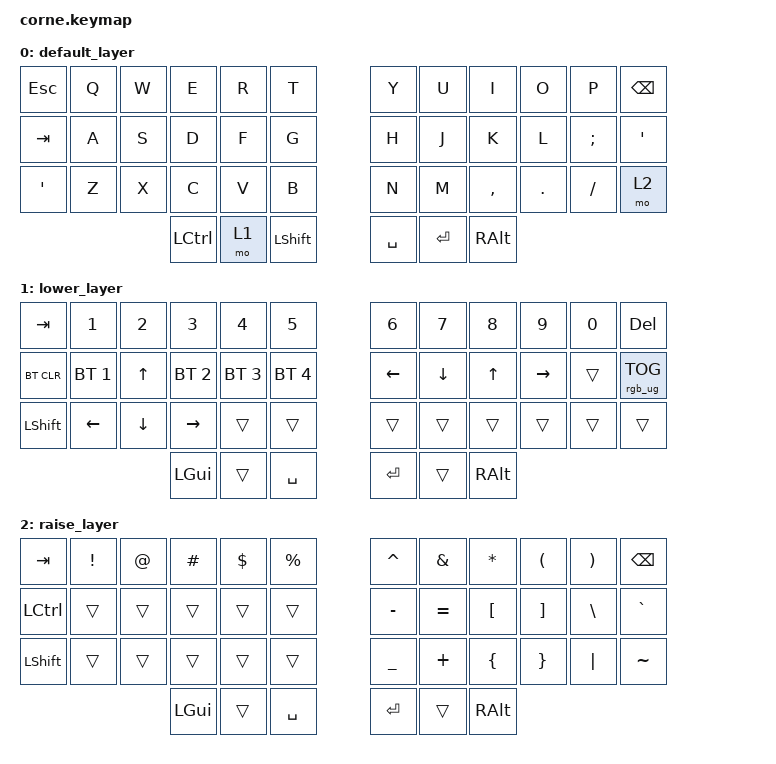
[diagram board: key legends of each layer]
/*
 * Copyright (c) 2020 The ZMK Contributors
 *
 * SPDX-License-Identifier: MIT
 */

#include <behaviors.dtsi>
#include <dt-bindings/zmk/keys.h>
#include <dt-bindings/zmk/bt.h>
#include <dt-bindings/zmk/rgb.h>

&led_strip {
    chain-length = <48>;
};

/ {
        keymap {
                compatible = "zmk,keymap";

                default_layer {
// -----------------------------------------------------------------------------------------
// |  TAB |  Q  |  W  |  E  |  R  |  T  |   |  Y  |  U   |  I  |  O  |  P  | BSPC |
// | CTRL |  A  |  S  |  D  |  F  |  G  |   |  H  |  J   |  K  |  L  |  ;  |  '   |
// | SHFT |  Z  |  X  |  C  |  V  |  B  |   |  N  |  M   |  ,  |  .  |  /  | ESC  |
//                    | GUI | LWR | SPC |   | ENT | RSE  | ALT |
                        bindings = <
   &kp ESC   &kp Q &kp W &kp E &kp R &kp T   &kp Y &kp U  &kp I     &kp O   &kp P    &kp BSPC
   &kp TAB &kp A &kp S &kp D &kp F &kp G   &kp H &kp J  &kp K     &kp L   &kp SEMI &kp SQT
   &kp SQT &kp Z &kp X &kp C &kp V &kp B   &kp N &kp M  &kp COMMA &kp DOT &kp FSLH &mo 2
                  &kp LCTRL &mo 1 &kp LSHFT   &kp SPACE &kp RET &kp RALT
                        >;
                };
                lower_layer {
// -----------------------------------------------------------------------------------------
// |  TAB |  1  |  2  |  3  |  4  |  5  |   |  6  |  7  |  8  |  9  |  0  | BSPC |
// | BTCLR| BT1 | BT2 | BT3 | BT4 | BT5 |   | LFT | DWN |  UP | RGT |     |      |
// | SHFT |     |     |     |     |     |   |     |     |     |     |     |      |
//                    | GUI |     | SPC |   | ENT |     | ALT |
                        bindings = <
   &kp TAB    &kp N1       &kp N2       &kp N3          &kp N4       &kp N5         &kp N6   &kp N7   &kp N8 &kp N9    &kp N0 &kp DEL
   &bt BT_CLR &bt BT_SEL 1 &kp UP       &bt BT_SEL 2    &bt BT_SEL 3 &bt BT_SEL 4   &kp LEFT &kp DOWN &kp UP &kp RIGHT &trans &rgb_ug RGB_TOG
   &kp LSHFT  &kp LEFT     &kp DOWN     &kp RIGHT       &trans       &trans         &trans   &trans   &trans &trans    &trans &trans
                                    &kp LGUI     &trans       &kp SPACE      &kp RET  &trans   &kp RALT
                        >;
                };

                raise_layer {
// -----------------------------------------------------------------------------------------
// |  TAB |  !  |  @  |  #  |  $  |  %  |   |  ^  |  &  |  *  |  (  |  )  | BSPC |
// | CTRL |     |     |     |     |     |   |  -  |  =  |  [  |  ]  |  \  |  `   |
// | SHFT |     |     |     |     |     |   |  _  |  +  |  {  |  }  | "|" |  ~   |
//                    | GUI |     | SPC |   | ENT |     | ALT |
                        bindings = <
   &kp  TAB  &kp EXCL &kp AT &kp HASH &kp DLLR &kp PRCNT   &kp CARET &kp AMPS  &kp ASTRK &kp LPAR &kp RPAR &kp BSPC
   &kp LCTRL &trans   &trans &trans   &trans   &trans      &kp MINUS &kp EQUAL &kp LBKT  &kp RBKT &kp BSLH &kp GRAVE
   &kp LSHFT &trans   &trans &trans   &trans   &trans      &kp UNDER &kp PLUS  &kp LBRC  &kp RBRC &kp PIPE &kp TILDE
                             &kp LGUI &trans   &kp SPACE   &kp RET   &trans    &kp RALT
                        >;
                };
        };
};
